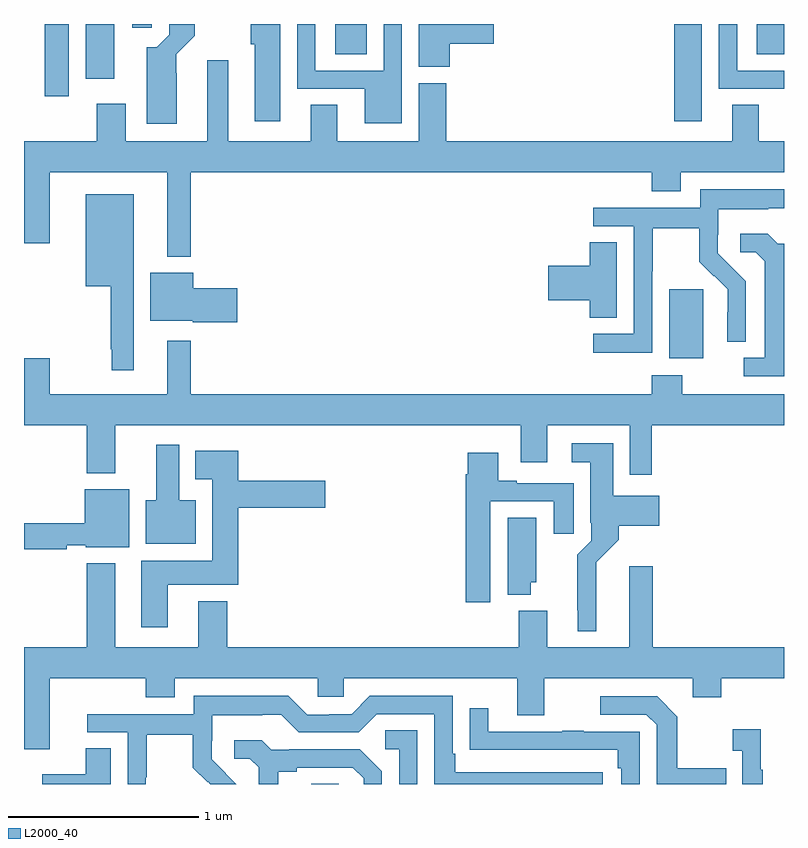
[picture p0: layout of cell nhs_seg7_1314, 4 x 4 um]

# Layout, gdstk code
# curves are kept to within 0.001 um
import gdstk
lib = gdstk.Library(unit=1e-6, precision=1e-09)
def R(c, l, rs):  # rectangles x0, y0, x1, y1
    for r in rs: c.add(gdstk.rectangle(r[:2], r[2:], *l))
def P(c, l, *ps):  # polygons
    for p in ps: c.add(gdstk.Polygon(p, *l))
L2000_40 = (2000, 40)

nhs_seg7_1314 = lib.new_cell('nhs_seg7_1314')
R(nhs_seg7_1314, L2000_40, [(202.511,1060,202.656,1060.001), (204.395,1062.242,204.574,1062.603), (204.422,1063.488,204.568,1064), (201.109,1063.62,201.235,1064), (201.326,1063.713,201.475,1064), (202.637,1063.84,202.804,1064), (204.857,1063.84,205,1064), (201.569,1063.98,201.673,1064)])
P(nhs_seg7_1314, L2000_40, [(202.348,1064),(202.193,1064),(202.193,1063.893),(202.214,1063.893),(202.214,1063.488),(202.348,1063.488)],
  [(202.989,1064),(202.893,1064),(202.893,1063.755),(202.533,1063.755),(202.533,1064),(202.437,1064),(202.437,1063.659),(202.793,1063.659),(202.793,1063.478),(202.989,1063.478)],
  [(205,1063.755),(204.753,1063.755),(204.753,1064),(204.657,1064),(204.657,1063.659),(205,1063.659)],
  [(203.24,1063.895),(203.473,1063.895),(203.473,1064),(203.078,1064),(203.078,1063.774),(203.24,1063.774)],
  [(201.805,1063.742),(201.801,1063.742),(201.801,1063.84),(201.898,1063.937),(201.898,1064),(201.765,1064),(201.765,1063.944),(201.699,1063.878),(201.647,1063.878),(201.647,1063.475),(201.805,1063.475)],
  [(201.877,1063.22),(204.305,1063.22),(204.305,1063.121),(204.457,1063.121),(204.457,1063.22),(205,1063.22),(205,1063.384),(204.868,1063.384),(204.868,1063.574),(204.728,1063.574),(204.728,1063.384),(203.222,1063.384),(203.222,1063.689),(203.078,1063.689),(203.078,1063.384),(202.648,1063.384),(202.648,1063.574),(202.508,1063.574),(202.508,1063.384),(202.075,1063.384),(202.075,1063.81),(201.965,1063.81),(201.965,1063.384),(201.535,1063.384),(201.535,1063.579),(201.383,1063.579),(201.383,1063.384),(201,1063.384),(201,1062.846),(201.136,1062.846),(201.136,1063.22),(201.755,1063.22),(201.755,1062.776),(201.877,1062.776)],
  [(204.306,1062.7),(204.309,1062.7),(204.309,1062.924),(204.553,1062.924),(204.553,1062.749),(204.63,1062.672),(204.633,1062.675),(204.704,1062.605),(204.704,1062.482),(204.702,1062.482),(204.702,1062.328),(204.798,1062.328),(204.798,1062.646),(204.652,1062.794),(204.652,1062.891),(204.654,1062.891),(204.654,1063.025),(204.917,1063.025),(204.917,1063.029),(205,1063.029),(205,1063.129),(204.558,1063.129),(204.558,1063.032),(203.997,1063.032),(203.997,1062.936),(204.21,1062.936),(204.21,1062.369),(203.997,1062.369),(203.997,1062.271),(204.306,1062.271)],
  [(201.577,1063.105),(201.326,1063.105),(201.326,1062.62),(201.456,1062.62),(201.456,1062.289),(201.463,1062.289),(201.463,1062.177),(201.577,1062.177)],
  [(205,1062.843),(204.966,1062.843),(204.914,1062.895),(204.771,1062.895),(204.771,1062.798),(204.852,1062.798),(204.899,1062.751),(204.899,1062.243),(204.789,1062.243),(204.789,1062.147),(205,1062.147)],
  [(204.121,1062.851),(203.978,1062.851),(203.978,1062.728),(203.76,1062.728),(203.76,1062.545),(203.978,1062.545),(203.978,1062.454),(204.121,1062.454)],
  [(202.123,1062.608),(201.892,1062.608),(201.892,1062.691),(201.665,1062.691),(201.665,1062.437),(201.888,1062.437),(201.888,1062.43),(202.123,1062.43)],
  [(204.305,1061.888),(205,1061.888),(205,1062.052),(204.465,1062.052),(204.465,1062.151),(204.305,1062.151),(204.305,1062.052),(201.877,1062.052),(201.877,1062.334),(201.755,1062.334),(201.755,1062.052),(201.136,1062.052),(201.136,1062.241),(201,1062.241),(201,1061.888),(201.329,1061.888),(201.329,1061.636),(201.481,1061.636),(201.481,1061.888),(203.615,1061.888),(203.615,1061.694),(203.755,1061.694),(203.755,1061.888),(204.189,1061.888),(204.189,1061.628),(204.305,1061.628)],
  [(204.013,1061.168),(204.131,1061.286),(204.131,1061.36),(204.343,1061.36),(204.343,1061.518),(204.1,1061.518),(204.1,1061.794),(203.883,1061.794),(203.883,1061.693),(203.981,1061.693),(203.981,1061.374),(203.985,1061.374),(203.985,1061.28),(203.911,1061.206),(203.911,1060.915),(203.915,1060.915),(203.915,1060.805),(204.013,1060.805)],
  [(201.904,1061.494),(201.817,1061.494),(201.817,1061.785),(201.695,1061.785),(201.695,1061.494),(201.641,1061.494),(201.641,1061.264),(201.904,1061.264)],
  [(201.757,1061.048),(202.127,1061.048),(202.127,1061.453),(202.585,1061.453),(202.585,1061.595),(202.127,1061.595),(202.127,1061.755),(201.902,1061.755),(201.902,1061.603),(201.992,1061.603),(201.992,1061.176),(201.617,1061.176),(201.617,1060.824),(201.757,1060.824)],
  [(203.455,1061.487),(203.789,1061.487),(203.789,1061.316),(203.893,1061.316),(203.893,1061.583),(203.593,1061.583),(203.593,1061.596),(203.497,1061.596),(203.497,1061.743),(203.336,1061.743),(203.336,1061.63),(203.324,1061.63),(203.324,1060.956),(203.455,1060.956)],
  [(201.224,1061.256),(201.324,1061.256),(201.324,1061.246),(201.553,1061.246),(201.553,1061.551),(201.32,1061.551),(201.32,1061.372),(201,1061.372),(201,1061.236),(201.224,1061.236)],
  [(203.668,1061.061),(203.695,1061.061),(203.695,1061.402),(203.546,1061.402),(203.546,1060.997),(203.668,1060.997)],
  [(201.136,1060.556),(201.641,1060.556),(201.641,1060.457),(201.793,1060.457),(201.793,1060.556),(202.545,1060.556),(202.545,1060.458),(202.683,1060.458),(202.683,1060.556),(203.597,1060.556),(203.597,1060.362),(203.737,1060.362),(203.737,1060.556),(204.521,1060.556),(204.521,1060.457),(204.669,1060.457),(204.669,1060.556),(205,1060.556),(205,1060.72),(204.308,1060.72),(204.308,1061.146),(204.185,1061.146),(204.185,1060.72),(203.755,1060.72),(203.755,1060.912),(203.603,1060.912),(203.603,1060.72),(202.07,1060.72),(202.07,1060.963),(201.917,1060.963),(201.917,1060.72),(201.481,1060.72),(201.481,1061.161),(201.329,1061.161),(201.329,1060.72),(201,1060.72),(201,1060.182),(201.136,1060.182)],
  [(201.642,1060.036),(201.645,1060.036),(201.645,1060.26),(201.889,1060.26),(201.889,1060.085),(201.966,1060.008),(201.969,1060.011),(201.98,1060),(202.116,1060),(201.988,1060.13),(201.988,1060.227),(201.99,1060.227),(201.99,1060.361),(202.253,1060.361),(202.253,1060.365),(202.353,1060.365),(202.446,1060.272),(202.761,1060.272),(202.857,1060.368),(203.16,1060.368),(203.16,1060),(204.046,1060),(204.046,1060.062),(203.269,1060.062),(203.269,1060.159),(203.256,1060.159),(203.256,1060.464),(202.821,1060.464),(202.725,1060.368),(202.607,1060.368),(202.607,1060.365),(202.491,1060.365),(202.391,1060.465),(201.894,1060.465),(201.894,1060.368),(201.333,1060.368),(201.333,1060.272),(201.546,1060.272),(201.546,1060),(201.642,1060)],
  [(204.695,1060.083),(204.439,1060.083),(204.439,1060.355),(204.333,1060.461),(204.033,1060.461),(204.033,1060.365),(204.276,1060.365),(204.33,1060.311),(204.33,1060),(204.695,1060)],
  [(204.24,1060.275),(203.945,1060.275),(203.945,1060.28),(203.833,1060.28),(203.833,1060.275),(203.443,1060.275),(203.443,1060.399),(203.347,1060.399),(203.347,1060.18),(203.449,1060.18),(203.449,1060.179),(204.124,1060.179),(204.124,1060.082),(204.144,1060.082),(204.144,1060),(204.24,1060)],
  [(204.889,1060.075),(204.877,1060.075),(204.877,1060.288),(204.729,1060.288),(204.729,1060.175),(204.78,1060.175),(204.78,1060),(204.889,1060)],
  [(203.07,1060.283),(202.902,1060.283),(202.902,1060.182),(202.974,1060.182),(202.974,1060),(203.07,1060)],
  [(202.339,1060.064),(202.435,1060.064),(202.435,1060.086),(202.73,1060.086),(202.787,1060.029),(202.787,1060),(202.884,1060),(202.884,1060.066),(202.768,1060.182),(202.396,1060.182),(202.396,1060.179),(202.302,1060.179),(202.25,1060.231),(202.107,1060.231),(202.107,1060.134),(202.188,1060.134),(202.235,1060.087),(202.235,1060),(202.339,1060)],
  [(201.457,1060.187),(201.326,1060.187),(201.326,1060.051),(201.096,1060.051),(201.096,1060),(201.457,1060)])

lib.write_gds('nhs_seg7_1314.gds')
